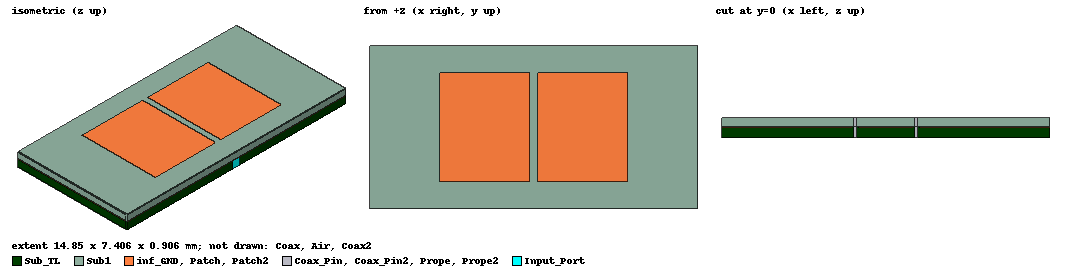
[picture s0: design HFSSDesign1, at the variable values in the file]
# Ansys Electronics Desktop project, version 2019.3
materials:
  vacuum: permittivity=1
  Rogers RT/duroid 5880 (tm): permittivity=2.2 dielectric_loss_tangent=0.0009
  pec: conductivity=1e+30
  Rogers RO4003 (tm): permittivity=3.55 dielectric_loss_tangent=0.0027

design HFSSDesign1 (HFSS, DrivenModal, model units mm)
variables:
  Lp = 4.1mm  # optimise 0.1mm..5mm
  Wp = 4.97mm  # optimise 1mm..6mm
  hs = 0.406mm
  Ws = 7.406mm
  Ls = 14.846mm
  xsub = -Ls/2
  ysub = -Ws/2
  xfeed = 1.2mm
  dp = 0.343834434mm
  rcoax = 0.16mm
  hcoax = 0.5mm
  rprope = 0.07mm
  Lair = 0.01+Ls
  Wair = 0.01+Ws
  xair = Lair/2
  yair = Wair/2
  hair = 5mm
  yfeed = 0mm
  xp = dp/2
  yp = -Wp/2
  hgnd = 0.032mm
  hsubTL = hcoax
  WTLfeed = 0.45407mm
  LTLfeed = 2.728412mm
  LTL_hoz = 2.432292mm
  WTL_In = 0.276146mm
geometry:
  Sub1 [Rogers RO4003 (tm)] = box(corner=(xsub, ysub, 0mm), size=(Ls, Ws, hs))
  Patch [Rogers RT/duroid 5880 (tm)] = rectangle(corner=(xp, yp, hs), x_size=Lp, y_size=Wp)
  Coax [vacuum] = cylinder(axis=Z, base_centre=(xp+xfeed, yfeed, 0mm), radius=rcoax, height=-hcoax)
  Coax_Pin [pec] = cylinder(axis=Z, base_centre=(xp+xfeed, yfeed, 0mm), radius=rprope, height=-hcoax)
  Prope [pec] = cylinder(axis=Z, base_centre=(xp+xfeed, yfeed, 0mm), radius=rprope, height=hs)
  Air [vacuum] = box(corner=(-xair, -yair, 0), size=(Lair, Wair, hair))
  Patch2 = rectangle(corner=(xp-Lp-dp, yp, hs), x_size=Lp, y_size=Wp)
  Coax2 [vacuum] = cylinder(axis=Z, base_centre=(-(xp+xfeed), yfeed, 0mm), radius=rcoax, height=-hcoax)
  Coax_Pin2 [pec] = cylinder(axis=Z, base_centre=(-(xp+xfeed), yfeed, 0mm), radius=rprope, height=-hcoax)
  Prope2 [pec] = cylinder(axis=Z, base_centre=(-(xp+xfeed), yfeed, 0mm), radius=rprope, height=hs)
  inf_GND [pec] = box(corner=(xsub, ysub, 0mm), size=(Ls, Ws, -hgnd))
  Cylinder_cut_2 = cylinder(axis=Z, base_centre=(-(xp+xfeed), yfeed, 0), radius=rcoax, height=-hgnd)
  Cylinder_cut_1 = cylinder(axis=Z, base_centre=(xp+xfeed, yfeed, 0), radius=rcoax, height=-hgnd)
  inf_GND.subtract(Cylinder_cut_1)
  inf_GND.subtract(Cylinder_cut_2)
  Sub_TL [Rogers RO4003 (tm)] = box(corner=(xsub, ysub, 0mm), size=(Ls, Ws, -hsubTL))
  Input_Port = rectangle(corner=(-WTLfeed/2, Ws/2, -hsubTL), z_size=hsubTL-hgnd, x_size=WTLfeed)
  TL_feed_full = rectangle(corner=(-WTLfeed/2, Ws/2, -hsubTL), x_size=WTLfeed, y_size=-LTLfeed)
  TL_hoz = rectangle(corner=(LTL_hoz/2, Ws/2-LTLfeed, -hsubTL), x_size=-LTL_hoz, y_size=-WTL_In)
  TL1_Ver_Inter = rectangle(corner=(LTL_hoz/2, Ws/2-LTLfeed -WTL_In, -hsubTL), x_size=-WTL_In, y_size=-(Ws/2-LTLfeed -WTL_In)+(yfeed+WTL_In-2*rcoax-WTL_In))
  TL2_Ver_Inter = rectangle(corner=(-LTL_hoz/2, Ws/2-LTLfeed -WTL_In, -hsubTL), x_size=WTL_In, y_size=-(Ws/2-LTLfeed -WTL_In)+(yfeed+WTL_In-2*rcoax-WTL_In))
  TL2_In_Coax = rectangle(corner=(-LTL_hoz/2, yfeed+WTL_In, -hsubTL), x_size=LTL_hoz/2-(xp+xfeed+2*rcoax), y_size=-2*rcoax-WTL_In)
  TL1_in_Coax = rectangle(corner=(LTL_hoz/2, yfeed+WTL_In, -hsubTL), x_size=-LTL_hoz/2+(xp+xfeed+2*rcoax), y_size=-2*rcoax-WTL_In)
  TL_feed_full.unite(TL_hoz)
  TL_feed_full.unite(TL1_in_Coax)
  TL_feed_full.unite(TL1_Ver_Inter)
  TL_feed_full.unite(TL2_In_Coax)
  TL_feed_full.unite(TL2_Ver_Inter)
  group Input_feed1 = Coax, Coax_Pin, Prope
  group Input_feed2 = Coax2, Coax_Pin2, Prope2
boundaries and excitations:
  PerfE_Patch: Perfect E Objects=Patch
  Rad1: Radiation Faces=Air.face(+x, +y, -y, -x, +z)
  PerfE1: Perfect E Objects=Patch2
  PerfETL: Perfect E Objects=TL_feed_full
  1: Lumped Port Objects=Input_Port Modes{Mode1{IntLine{middle of Input_Port.edge(z at corner) -> middle of Input_Port.edge(z opposite corner)} CharImp=Zpi RenormImp=50ohm}} Impedance=50ohm
  reference conductors: inf_GND
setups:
  Setup1: HfssDriven Frequency=20GHz MaxDeltaS=0.02 MaximumPasses=18 MinimumPasses=1 MinimumConvergedPasses=1 PercentRefinement=30 BasisOrder=1 PortAccuracy=2
    sweep Sweep: 10GHz to 30GHz step 0.1GHz; Type=Fast SaveFields SaveRadFields GenerateFieldsForAllFreqs
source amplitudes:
  1:1: 1W 0deg
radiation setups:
  e_plane: Infinite Sphere Theta=-180deg..180deg step 2deg Phi=0deg..0deg step 1deg
  h_plane: Infinite Sphere Theta=-180deg..180deg step 2deg Phi=90deg..90deg step 1deg
  3d: Infinite Sphere Theta=-180deg..180deg step 2deg Phi=0deg..360deg step 2deg
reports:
  Eradation_pattern: abs(rETotal) vs Theta on Setup1 : LastAdaptive, e_plane [Phi=all Freq=20GHz]
  Hradation_pattern: abs(rETotal) vs Theta on Setup1 : LastAdaptive, h_plane [Phi=all Freq=20GHz]
  Co_X_graph: dB10normalize(GainPhi), dB10normalize(GainTheta) vs Theta on Setup1 : LastAdaptive, e_plane [Phi=0deg Freq=20GHz]
  Gain Plot 1: GainTotal vs Theta on Setup1 : LastAdaptive, e_plane [Phi=all Freq=20GHz]
  Z Parameter Plot 1: mag(Z(1,1)) vs Freq on Setup1 : Sweep; markers MX1 at x=2.0006696e+10
  S Parameter Plot 3: dB(S(1,1)) vs Freq on Setup1 : Sweep [Lp=all Wp=all]
  Z Parameter Plot 2: mag(Z(1,1)) vs Freq on Setup1 : Sweep [Lp=all Wp=all]; markers MX1 at x=2.0005574e+10
  Port Zo Plot 1: mag(Zo(1)) vs Freq on Setup1 : Sweep [Lp=all Wp=all]; markers MX1 at x=1.9996656e+10
  VSWR Plot 1: VSWR(1) vs Freq on Setup1 : Sweep [Lp=all Wp=all]; markers m1 at 20GHz
  Gain Plot 1_1: GainTotal vs Theta
  S Parameter Plot 4: dB(S(1,1)) vs Freq on Setup1 : Sweep [Wp=all]
  S Parameter Plot 5: dB(S(1,1)) vs Freq on Setup1 : Sweep [Lp=all Wp=all]
  S Parameter Plot 6: dB(S(1,1)) vs Freq on Setup1 : Sweep
  S Parameter Plot 7: dB(S(1,1)) vs Freq on Setup1 : Sweep
  S Parameter Plot 8: dB(S(1,1)) vs Freq on Setup1 : Sweep
  Gain Plot 2: GainTotal vs Phi, Theta on Setup1 : LastAdaptive, e_plane [Freq=20GHz]
  Gain Plot 3: GainTotal vs Phi, Theta on Setup1 : LastAdaptive, 3d [Freq=20GHz]
  S Parameter Plot 9: dB(S(1,1)) vs Freq on Setup1 : Sweep
  rE Plot 1: dB(rETotal) vs Phi, Theta on Setup1 : LastAdaptive, 3d [Freq=20GHz]
  Gain Plot 4: GainTotal vs Phi, Theta on Setup1 : LastAdaptive, e_plane [Freq=20GHz]
  Gain Plot 5: dB(GainTotal) vs Phi, Theta on Setup1 : LastAdaptive, e_plane [Freq=20GHz]
  Directivity Plot 1: mag(DirTotal) vs Phi, Theta on Setup1 : LastAdaptive, e_plane [Freq=20GHz]
  rE Plot 2: dB(rETotal) vs Phi, Theta on Setup1 : LastAdaptive, e_plane [Freq=20GHz]
  rE Plot 3: dB(rETotal) vs Phi, Theta on Setup1 : LastAdaptive, 3d [Freq=20GHz]
